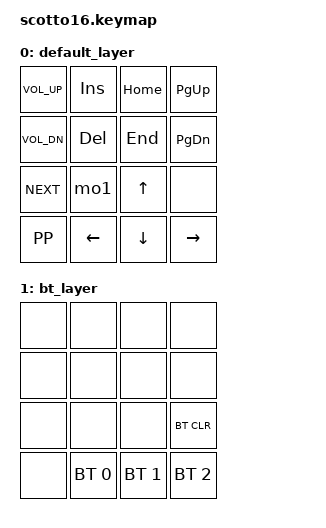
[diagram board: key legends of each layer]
#include <behaviors.dtsi>
#include <dt-bindings/zmk/keys.h>
#include <dt.bindings/zmk/bt.h>

/ {
    keymap {
        compatible = "zmk,keymap";

        default_layer {
            bindings = <
                &kp K_VOL_UP    &kp INS         &kp HOME        &kp PG_UP
                &kp K_VOL_DN    &kp DEL         &kp END         &kp PG_DN
                &kp K_NEXT      &mo1            &kp UP          &none
                &kp K_PP        &kp LEFT        &kp DOWN        &kp RIGHT
            >;
        };

        bt_layer {
            bindings = <
                &none           &none           &none           &none
                &none           &none           &none           &none
                &none           &none           &none           &bt BT_CLR
                &none           &bt BT_SEL 0    &bt BT_SEL 1    &bt BT_SEL 2
            >;
        };
    };
};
